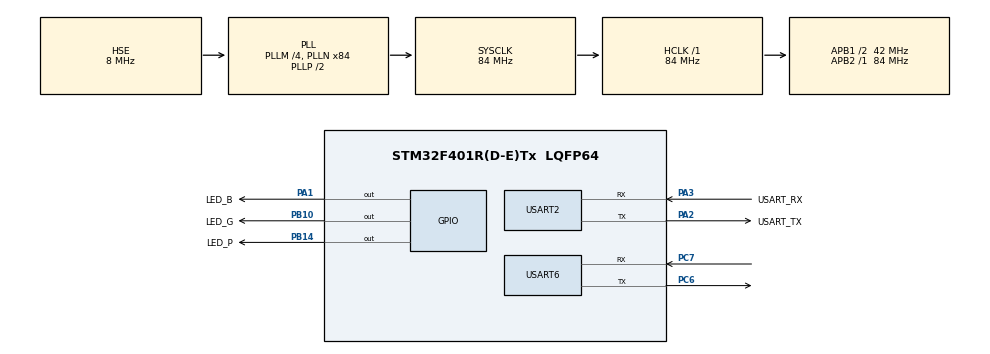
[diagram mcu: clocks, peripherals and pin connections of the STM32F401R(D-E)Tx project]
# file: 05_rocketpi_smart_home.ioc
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Dma.Request0=USART6_RX
Dma.Request1=USART6_TX
Dma.USART6_RX.0.Direction=DMA_PERIPH_TO_MEMORY
Dma.USART6_RX.0.FIFOMode=DMA_FIFOMODE_DISABLE
Dma.USART6_RX.0.Instance=DMA2_Stream1
Dma.USART6_RX.0.MemDataAlignment=DMA_MDATAALIGN_BYTE
Dma.USART6_RX.0.MemInc=DMA_MINC_ENABLE
Dma.USART6_RX.0.Mode=DMA_NORMAL
Dma.USART6_RX.0.PeriphDataAlignment=DMA_PDATAALIGN_BYTE
Dma.USART6_RX.0.PeriphInc=DMA_PINC_DISABLE
Dma.USART6_RX.0.Priority=DMA_PRIORITY_LOW
Dma.USART6_TX.1.Direction=DMA_MEMORY_TO_PERIPH
Dma.USART6_TX.1.FIFOMode=DMA_FIFOMODE_DISABLE
Dma.USART6_TX.1.Instance=DMA2_Stream6
Dma.USART6_TX.1.MemDataAlignment=DMA_MDATAALIGN_BYTE
Dma.USART6_TX.1.MemInc=DMA_MINC_ENABLE
Dma.USART6_TX.1.Mode=DMA_NORMAL
Dma.USART6_TX.1.PeriphDataAlignment=DMA_PDATAALIGN_BYTE
Dma.USART6_TX.1.PeriphInc=DMA_PINC_DISABLE
Dma.USART6_TX.1.Priority=DMA_PRIORITY_LOW
Mcu.Family=STM32F4
Mcu.Name=STM32F401R(D-E)Tx
Mcu.Package=LQFP64
NVIC.DMA2_Stream1_IRQn=true\:0\:0\:false\:false\:true\:false\:true\:true
NVIC.DMA2_Stream6_IRQn=true\:0\:0\:false\:false\:true\:false\:true\:true
NVIC.PriorityGroup=NVIC_PRIORITYGROUP_4
NVIC.USART2_IRQn=true\:0\:0\:false\:false\:true\:true\:true\:true
NVIC.USART6_IRQn=true\:0\:0\:false\:false\:true\:true\:true\:true
PA1.GPIO_Label=LED_B
PA1.Signal=GPIO_Output
PA13.GPIO_Label=TMS
PA13.Mode=Serial_Wire
PA13.Signal=SYS_JTMS-SWDIO
PA14.GPIO_Label=TCK
PA14.Mode=Serial_Wire
PA14.Signal=SYS_JTCK-SWCLK
PA2.GPIO_Label=USART_TX
PA2.GPIO_Mode=GPIO_MODE_AF_PP
PA2.GPIO_PuPd=GPIO_NOPULL
PA2.GPIO_Speed=GPIO_SPEED_FREQ_LOW
PA2.Mode=Asynchronous
PA2.Signal=USART2_TX
PA3.GPIO_Label=USART_RX
PA3.GPIO_Mode=GPIO_MODE_AF_PP
PA3.GPIO_PuPd=GPIO_NOPULL
PA3.GPIO_Speed=GPIO_SPEED_FREQ_LOW
PA3.Mode=Asynchronous
PA3.Signal=USART2_RX
PB10.GPIO_Label=LED_G
PB10.Signal=GPIO_Output
PB14.GPIO_Label=LED_P
PB14.Signal=GPIO_Output
PC6.Mode=Asynchronous
PC6.Signal=USART6_TX
PC7.Mode=Asynchronous
PC7.Signal=USART6_RX
PH0\ -\ OSC_IN.Mode=HSE-External-Oscillator
PH0\ -\ OSC_IN.Signal=RCC_OSC_IN
PH1\ -\ OSC_OUT.Mode=HSE-External-Oscillator
PH1\ -\ OSC_OUT.Signal=RCC_OSC_OUT
ProjectManager.HeapSize=0x4000
ProjectManager.StackSize=0x1000
ProjectManager.TargetToolchain=MDK-ARM V5.27
RCC.48MHZClocksFreq_Value=24000000
RCC.AHBFreq_Value=84000000
RCC.APB1CLKDivider=RCC_HCLK_DIV2
RCC.APB1Freq_Value=42000000
RCC.APB1TimFreq_Value=84000000
RCC.APB2Freq_Value=84000000
RCC.APB2TimFreq_Value=84000000
RCC.CortexFreq_Value=84000000
RCC.HCLKFreq_Value=84000000
RCC.HSE_VALUE=8000000
RCC.HSI_VALUE=16000000
RCC.LSE_VALUE=32768
RCC.PLLM=4
RCC.PLLN=84
RCC.PLLQ=7
RCC.PLLSourceVirtual=RCC_PLLSOURCE_HSE
RCC.SYSCLKFreq_VALUE=84000000
RCC.SYSCLKSource=RCC_SYSCLKSOURCE_PLLCLK
RCC.VCOOutputFreq_Value=168000000
USART2.VirtualMode=VM_ASYNC
USART6.VirtualMode=VM_ASYNC
board=NUCLEO-F401RE

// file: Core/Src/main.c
/* USER CODE BEGIN Header */
/**
  ******************************************************************************
  * @file           : main.c
  * @brief          : Main program body
  ******************************************************************************
  * @attention
  *
  * Copyright (c) 2025 STMicroelectronics.
  * All rights reserved.
  *
  * This software is licensed under terms that can be found in the LICENSE file
  * in the root directory of this software component.
  * If no LICENSE file comes with this software, it is provided AS-IS.
  *
  ******************************************************************************
  */
/* USER CODE END Header */
#include "main.h"
#include "dma.h"
#include "usart.h"
#include "gpio.h"

/* USER CODE BEGIN Includes */
#define MQTT_TRACE_ENABLED 1
#include <stdio.h>
#include <string.h>
#include <stdbool.h>
#include "driver_esp8266_at.h"
/* USER CODE END Includes */

/* USER CODE BEGIN PD */
#ifndef ESP8266_TCP_TEST_WIFI_SSID
#define ESP8266_TCP_TEST_WIFI_SSID        "ZTE-45c476"
#endif
#ifndef ESP8266_TCP_TEST_WIFI_PASSWORD
#define ESP8266_TCP_TEST_WIFI_PASSWORD    "88888888"
#endif
#ifndef ESP8266_TCP_TEST_REMOTE_HOST
#define ESP8266_TCP_TEST_REMOTE_HOST      "192.168.1.77"
#endif
#ifndef ESP8266_TCP_TEST_REMOTE_PORT
#define ESP8266_TCP_TEST_REMOTE_PORT      8899U
#endif

/* USER CODE END PD */

/* USER CODE BEGIN PV */
static bool s_esp8266_tcp_link_ready = false;

/* USER CODE END PV */

void SystemClock_Config(void);
/* USER CODE BEGIN PFP */
static void esp8266_tcp_test_run(void);
static void esp8266_tcp_test_poll(void);
static void esp8266_tcp_print_ipd_payload(const esp8266_at_event_t *event);
static void esp8266_tcp_log_status(const char *label, esp8266_at_status_t status);
static void esp8266_tcp_print_ip_info(void);

/* USER CODE END PFP */

/* USER CODE BEGIN 0 */
static void esp8266_tcp_log_status(const char *label, esp8266_at_status_t status)
{
  if (label == NULL)
  {
    return;
  }
  printf("[ESP8266][TCP][%s] %s\r\n", label, esp8266_at_status_string(status));
}

static void esp8266_tcp_print_ip_info(void)
{
  esp8266_at_ip_info_t ip_info;
  esp8266_at_status_t status = esp8266_at_query_ip_info(&ip_info);
  esp8266_tcp_log_status("CIPSTA?", status);
  if (status != ESP8266_AT_STATUS_OK)
  {
    return;
  }

  printf("[ESP8266][IP] STA ip=%s gateway=%s netmask=%s\r\n",
         ip_info.station_ip,
         ip_info.station_gateway,
         ip_info.station_netmask);
  printf("[ESP8266][IP] AP  ip=%s gateway=%s netmask=%s\r\n",
         ip_info.softap_ip,
         ip_info.softap_gateway,
         ip_info.softap_netmask);
}

static void esp8266_tcp_print_ipd_payload(const esp8266_at_event_t *event)
{
  if (event == NULL)
  {
    return;
  }

  const char *raw_line = event->raw_line;
  if (raw_line == NULL || raw_line[0] == '\0')
  {
    return;
  }

  const char *payload = NULL;
  unsigned int channel = 0U;
  unsigned int payload_length = 0U;
  bool channel_valid = false;
  bool length_valid = false;
  int payload_offset = 0;

  if (sscanf(raw_line, "+IPD,%u,%u:%n", &channel, &payload_length, &payload_offset) == 2)
  {
    channel_valid = true;
    length_valid = true;
    payload = raw_line + payload_offset;
  }
  else if (sscanf(raw_line, "+IPD,%u:%n", &payload_length, &payload_offset) == 1)
  {
    length_valid = true;
    payload = raw_line + payload_offset;
  }
  else
  {
    const char *colon = strchr(raw_line, ':');
    if (colon != NULL)
    {
      payload = colon + 1;
    }
  }

  if (payload == NULL || *payload == '\0')
  {
    printf("[ESP8266][TCP RX] (empty payload)\r\n");
    return;
  }

  char buffer[ESP8266_AT_MAX_LINE_LENGTH];
  size_t available = strlen(payload);
  size_t copy_len = available;

  if (length_valid && payload_length < copy_len)
  {
    copy_len = payload_length;
  }

  if (copy_len >= sizeof(buffer))
  {
    copy_len = sizeof(buffer) - 1U;
  }

  memcpy(buffer, payload, copy_len);
  buffer[copy_len] = '\0';

  if (!length_valid)
  {
    payload_length = (unsigned int)copy_len;
  }

  if (channel_valid)
  {
    printf("[ESP8266][TCP RX][id=%u len=%u] %s\r\n",
           channel,
           payload_length,
           buffer);
  }
  else
  {
    printf("[ESP8266][TCP RX][len=%u] %s\r\n",
           payload_length,
           buffer);
  }
}

static void esp8266_tcp_test_run(void)
{
  printf("\r\n=== ESP8266 TCP client test ===\r\n");
  s_esp8266_tcp_link_ready = false;

  esp8266_at_status_t status = esp8266_at_init();
  esp8266_tcp_log_status("init", status);
  if (status != ESP8266_AT_STATUS_OK)
  {
    return;
  }

  esp8266_at_clear_events();

  status = esp8266_at_disable_echo(true);
  esp8266_tcp_log_status("ATE0", status);
  if (status != ESP8266_AT_STATUS_OK)
  {
    return;
  }

  status = esp8266_at_set_wifi_mode(1U, false);
  esp8266_tcp_log_status("CWMODE", status);
  if (status != ESP8266_AT_STATUS_OK)
  {
    return;
  }

  status = esp8266_at_connect_ap(ESP8266_TCP_TEST_WIFI_SSID,
                                 ESP8266_TCP_TEST_WIFI_PASSWORD,
                                 20000U,
                                 false);
  esp8266_tcp_log_status("CWJAP", status);
  if (status != ESP8266_AT_STATUS_OK)
  {
    return;
  }
  esp8266_tcp_print_ip_info();

  status = esp8266_at_send_command(ESP8266_AT_CMD_CIPMUX,
                                   ESP8266_AT_COMMAND_MODE_SET,
                                   "0",
                                   ESP8266_AT_DEFAULT_TIMEOUT_MS,
                                   false);
  esp8266_tcp_log_status("CIPMUX", status);
  if (status != ESP8266_AT_STATUS_OK)
  {
    return;
  }

  char start_args[ESP8266_AT_MAX_LINE_LENGTH];
  (void)snprintf(start_args,
                 sizeof(start_args),
                 "\"TCP\",\"%s\",%u",
                 ESP8266_TCP_TEST_REMOTE_HOST,
                 (unsigned int)ESP8266_TCP_TEST_REMOTE_PORT);

  status = esp8266_at_send_command(ESP8266_AT_CMD_CIPSTART,
                                   ESP8266_AT_COMMAND_MODE_SET,
                                   start_args,
                                   ESP8266_AT_DEFAULT_TIMEOUT_MS * 5U,
                                   false);
  esp8266_tcp_log_status("CIPSTART", status);
  if (status == ESP8266_AT_STATUS_OK)
  {
    s_esp8266_tcp_link_ready = true;
    printf("[ESP8266][TCP] connected to %s:%u\r\n",
           ESP8266_TCP_TEST_REMOTE_HOST,
           (unsigned int)ESP8266_TCP_TEST_REMOTE_PORT);
    printf("[ESP8266][TCP] waiting for incoming data...\r\n");
  }
}

static void esp8266_tcp_test_poll(void)
{
  esp8266_at_event_t event;

  esp8266_at_poll();

  while (esp8266_at_fetch_event(&event))
  {
    if (strncmp(event.raw_line, "+IPD", 4) == 0)
    {
      if (s_esp8266_tcp_link_ready)
      {
        esp8266_tcp_print_ipd_payload(&event);
      }
      continue;
    }

    if (strstr(event.raw_line, "CLOSED") != NULL)
    {
      if (s_esp8266_tcp_link_ready)
      {
        printf("[ESP8266][TCP] connection closed\r\n");
      }
      s_esp8266_tcp_link_ready = false;
      continue;
    }
  }
}

/* USER CODE END 0 */

int main(void)
{

  /* MCU Configuration--------------------------------------------------------*/

  /* Reset of all peripherals, Initializes the Flash interface and the Systick. */
  HAL_Init();

  /* Configure the system clock */
  SystemClock_Config();

  /* Initialize all configured peripherals */
  MX_GPIO_Init();
  MX_DMA_Init();
  MX_USART2_UART_Init();
  MX_USART6_UART_Init();
  /* USER CODE BEGIN 2 */
	HAL_Delay(2000);

  esp8266_tcp_test_run();

  /* USER CODE END 2 */

  /* Infinite loop */
  /* USER CODE BEGIN WHILE */
  while (1)
  {

		esp8266_tcp_test_poll();
		HAL_Delay(10);
    /* USER CODE END WHILE */

  }
}

void SystemClock_Config(void)
{
  RCC_OscInitTypeDef RCC_OscInitStruct = {0};
  RCC_ClkInitTypeDef RCC_ClkInitStruct = {0};

  /** Configure the main internal regulator output voltage
  */
  __HAL_RCC_PWR_CLK_ENABLE();
  __HAL_PWR_VOLTAGESCALING_CONFIG(PWR_REGULATOR_VOLTAGE_SCALE2);

  /** Initializes the RCC Oscillators according to the specified parameters
  * in the RCC_OscInitTypeDef structure.
  */
  RCC_OscInitStruct.OscillatorType = RCC_OSCILLATORTYPE_HSE;
  RCC_OscInitStruct.HSEState = RCC_HSE_ON;
  RCC_OscInitStruct.PLL.PLLState = RCC_PLL_ON;
  RCC_OscInitStruct.PLL.PLLSource = RCC_PLLSOURCE_HSE;
  RCC_OscInitStruct.PLL.PLLM = 4;
  RCC_OscInitStruct.PLL.PLLN = 84;
  RCC_OscInitStruct.PLL.PLLP = RCC_PLLP_DIV2;
  RCC_OscInitStruct.PLL.PLLQ = 7;
  if (HAL_RCC_OscConfig(&RCC_OscInitStruct) != HAL_OK)
  {
    Error_Handler();
  }

  /** Initializes the CPU, AHB and APB buses clocks
  */
  RCC_ClkInitStruct.ClockType = RCC_CLOCKTYPE_HCLK|RCC_CLOCKTYPE_SYSCLK
                              |RCC_CLOCKTYPE_PCLK1|RCC_CLOCKTYPE_PCLK2;
  RCC_ClkInitStruct.SYSCLKSource = RCC_SYSCLKSOURCE_PLLCLK;
  RCC_ClkInitStruct.AHBCLKDivider = RCC_SYSCLK_DIV1;
  RCC_ClkInitStruct.APB1CLKDivider = RCC_HCLK_DIV2;
  RCC_ClkInitStruct.APB2CLKDivider = RCC_HCLK_DIV1;

  if (HAL_RCC_ClockConfig(&RCC_ClkInitStruct, FLASH_LATENCY_2) != HAL_OK)
  {
    Error_Handler();
  }
}

void Error_Handler(void)
{
  __disable_irq();
  while (1)
  {
  }
}
